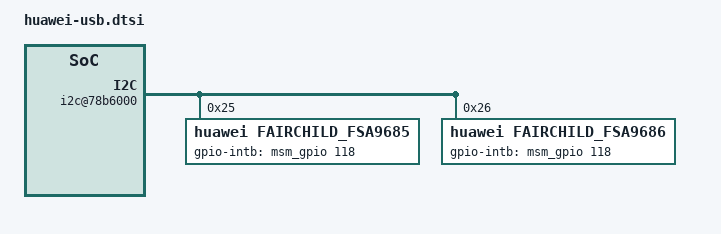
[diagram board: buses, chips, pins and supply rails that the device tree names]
/{
	usbswitch: usbswitch {
		compatible = "huawei,usbswitch";
		gpio_switch_back = "-1";
		status = "ok";
	};
};

&soc {
	i2c@78b6000{
		fairchild_fsa9685: fsa9685@25 {
			compatible = "huawei,fairchild_fsa9685";
			reg = <0x25>;
			fairchild_fsa9685,gpio-intb = <&msm_gpio 118 0>;
			status = "ok";
		};
	};
};

&soc {
	i2c@78b6000{
		fairchild_fsa9686: fsa9686@26 {
			compatible = "huawei,fairchild_fsa9686";
			reg = <0x26>;
			fairchild_fsa9685,gpio-intb = <&msm_gpio 118 0>;
			status = "ok";
		};
	};
};

&usb_otg {
	qcom,hsusb-otg-mode = <3>;
	vbus_otg-supply = <&bq24296_otg_supply>;
	qcom,hsusb-otg-phy-init-seq =
		<0x74 0x80 0x6F 0x81 0x35 0x82 0x23 0x83 0xffffffff>;
	qcom,hsusb-otg-phy-init-seq-host =
		<0x74 0x80 0x22 0x81 0x35 0x82 0x23 0x83 0xffffffff>;
};
